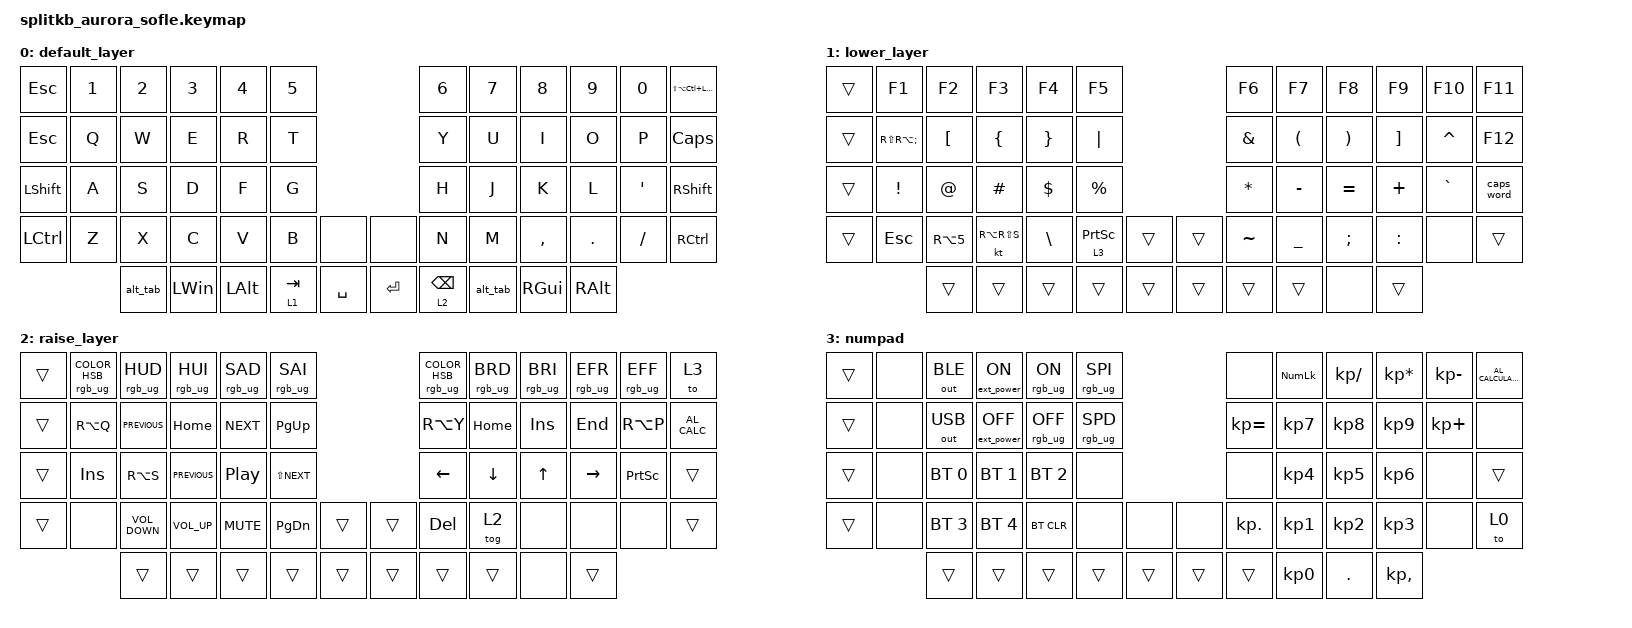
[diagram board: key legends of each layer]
/*
 * Copyright (c) 2023 The ZMK Contributors
 *
 * SPDX-License-Identifier: MIT
 */

#include <behaviors.dtsi>
#include <dt-bindings/zmk/bt.h>
#include <dt-bindings/zmk/ext_power.h>
#include <dt-bindings/zmk/keys.h>
#include <dt-bindings/zmk/outputs.h>
#include <dt-bindings/zmk/rgb.h>

&led_strip {
    // chain-length = <6>;
    // chain-length = <35>; // Uncomment if using both per-key and underglow LEDs

    chain-length = <29>; // Uncomment if using only per-key LEDs.
};

&mt {
    quick-tap-ms = <200>;
    flavor = "tap-unless-interrupted";
};

&lt { quick-tap-ms = <200>; };

/ {
    macros {
        alt_tab: alt_tab {
            compatible = "zmk,behavior-macro";
            #binding-cells = <0>;
            bindings =
                <&macro_press>,
                <&kp LEFT_ALT>,
                <&macro_tap>,
                <&kp TAB>,
                <&macro_pause_for_release>,
                <&macro_release>,
                <&kp LEFT_ALT>;

            label = "NEW_MACRO";
        };
    };

    keymap {
        compatible = "zmk,keymap";

        default_layer {
            // ------------------------------------------------------------------------------------------------------------
            // |  ESC  |  1  |  2  |  3   |  4   |  5   |                   |  6   |  7    |  8    |  9   |   0   |   `   |
            // |  TAB  |  Q  |  W  |  E   |  R   |  T   |                   |  Y   |  U    |  I    |  O   |   P   |   -   |
            // |  CTRL |  A  |  S  |  D   |  F   |  G   |                   |  H   |  J    |  K    |  L   |   ;   |   '   |
            // | SHIFT |  Z  |  X  |  C   |  V   |  B   |   "["  |  |  "]"  |  N   |  M    |  ,    |  .   |   /   | SHIFT |
            //               |CTRL | ALT  | GUI  | LOWER|  SPACE |  | ENTER | RAISE| BSPC  | GUI   | RALT |

            bindings = <
&kp ESC           &kp N1  &kp N2    &kp N3        &kp N4        &kp N5                           &kp N6           &kp N7    &kp N8     &kp N9    &kp N0            &kp LS(LA(LC(LEFT_GUI)))
&kp ESC           &kp Q   &kp W     &kp E         &kp R         &kp T                            &kp Y            &kp U     &kp I      &kp O     &kp P             &kp CAPS
&kp LEFT_SHIFT    &kp A   &kp S     &kp D         &kp F         &kp G                            &kp H            &kp J     &kp K      &kp L     &kp SINGLE_QUOTE  &kp RIGHT_SHIFT
&kp LEFT_CONTROL  &kp Z   &kp X     &kp C         &kp V         &kp B      &none        &none    &kp N            &kp M     &kp COMMA  &kp DOT   &kp FSLH          &kp RIGHT_CONTROL
                          &alt_tab  &kp LEFT_WIN  &kp LEFT_ALT  &lt 1 TAB  &kp SPACE    &kp RET  &lt 2 BACKSPACE  &alt_tab  &kp RGUI   &kp RALT
            >;
        };

        lower_layer {
            // ------------------------------------------------------------------------------------------------------------
            // | BTCLR | BT1 | BT2 |  BT3 |  BT4 |  BT5 |                   |      |       |       |      |       |       |
            // |  F1   |  F2 |  F3 |  F4  |  F5  |  F6  |                   |  F7  |  F8   |  F9   |  F10 |  F11  |  F12  |
            // |   `   |  !  |  @  |  #   |  $   |  %   |                   |  ^   |  &    |  *    |  (   |   )   |   ~   |
            // |       |     |     |      |      |      |        |  |       |      |  _    |  +    |  {   |   }   |  "|"  |
            //               |     |      |      |      |        |  |       |      |       |       |      |

            bindings = <
&trans  &kp F1                 &kp F2            &kp F3          &kp F4           &kp F5                               &kp F6         &kp F7                &kp F8                 &kp F9             &kp F10    &kp F11
&trans  &kp RS(RA(SEMICOLON))  &kp LEFT_BRACKET  &kp LEFT_BRACE  &kp RIGHT_BRACE  &kp PIPE                             &kp AMPERSAND  &kp LEFT_PARENTHESIS  &kp RIGHT_PARENTHESIS  &kp RIGHT_BRACKET  &kp CARET  &kp F12
&trans  &kp EXCL               &kp AT            &kp HASH        &kp DOLLAR       &kp PRCNT                            &kp ASTERISK   &kp MINUS             &kp EQUAL              &kp PLUS           &kp GRAVE  &caps_word
&trans  &kp ESCAPE             &kp RA(N5)        &kt RA(RS(S))   &kp BACKSLASH    &lt 3 PRINTSCREEN  &trans    &trans  &kp TILDE      &kp UNDERSCORE        &kp SEMICOLON          &kp COLON          &none      &trans
                               &trans            &trans          &trans           &trans             &trans    &trans  &trans         &trans                &none                  &trans
            >;
        };

        raise_layer {
            // ------------------------------------------------------------------------------------------------------------
            // |       |     |     |      |      |      |                   |      |       |       |      |       |       |
            // |   `   |  1  |  2  |  3   |  4   |  5   |                   |  6   |   7   |   8   |  9   |   0   |       |
            // |   F1  |  F2 |  F3 |  F4  |  F5  |  F6  |                   |      |   <-  |   v   |  ^   |  ->   |       |
            // |   F7  |  F8 |  F9 |  F10 |  F11 |  F12 |        |  |       |  +   |   -   |   =   |  [   |   ]   |   \   |
            //               |     |      |      |      |        |  |       |      |       |       |      |

            bindings = <
&trans  &rgb_ug RGB_COLOR_HSB(288,100,50)  &rgb_ug RGB_HUD    &rgb_ug RGB_HUI  &rgb_ug RGB_SAD  &rgb_ug RGB_SAI                    &rgb_ug RGB_COLOR_HSB(0,0,0)  &rgb_ug RGB_BRD  &rgb_ug RGB_BRI  &rgb_ug RGB_EFR  &rgb_ug RGB_EFF  &to 3
&trans  &kp RA(Q)                          &kp C_PREVIOUS     &kp HOME         &kp C_NEXT       &kp PAGE_UP                        &kp RA(Y)                     &kp HOME         &kp INSERT       &kp END          &kp RA(P)        &kp C_AL_CALC
&trans  &kp INS                            &kp RA(S)          &kp C_PREVIOUS   &kp C_PP         &kp LS(C_NEXT)                     &kp LEFT_ARROW                &kp DOWN_ARROW   &kp UP_ARROW     &kp RIGHT_ARROW  &kp PRINTSCREEN  &trans
&trans  &none                              &kp C_VOLUME_DOWN  &kp C_VOLUME_UP  &kp C_MUTE       &kp PAGE_DOWN    &trans    &trans  &kp DELETE                    &tog 2           &none            &none            &none            &trans
                                           &trans             &trans           &trans           &trans           &trans    &trans  &trans                        &trans           &none            &trans
            >;
        };

        numpad {
            bindings = <
&trans  &none  &out OUT_BLE  &ext_power EP_ON   &rgb_ug RGB_ON   &rgb_ug RGB_SPI                    &none         &kp KP_NUMLOCK   &kp KP_SLASH     &kp KP_MULTIPLY  &kp KP_MINUS  &kp C_AL_CALCULATOR
&trans  &none  &out OUT_USB  &ext_power EP_OFF  &rgb_ug RGB_OFF  &rgb_ug RGB_SPD                    &kp KP_EQUAL  &kp KP_NUMBER_7  &kp KP_NUMBER_8  &kp KP_NUMBER_9  &kp KP_PLUS   &none
&trans  &none  &bt BT_SEL 0  &bt BT_SEL 1       &bt BT_SEL 2     &none                              &none         &kp KP_NUMBER_4  &kp KP_NUMBER_5  &kp KP_NUMBER_6  &none         &trans
&trans  &none  &bt BT_SEL 3  &bt BT_SEL 4       &bt BT_CLR       &none            &none     &none   &kp KP_DOT    &kp KP_NUMBER_1  &kp KP_NUMBER_2  &kp KP_NUMBER_3  &none         &to 0
               &trans        &trans             &trans           &trans           &trans    &trans  &trans        &kp KP_NUMBER_0  &kp PERIOD       &kp KP_COMMA
            >;
        };
    };
};
